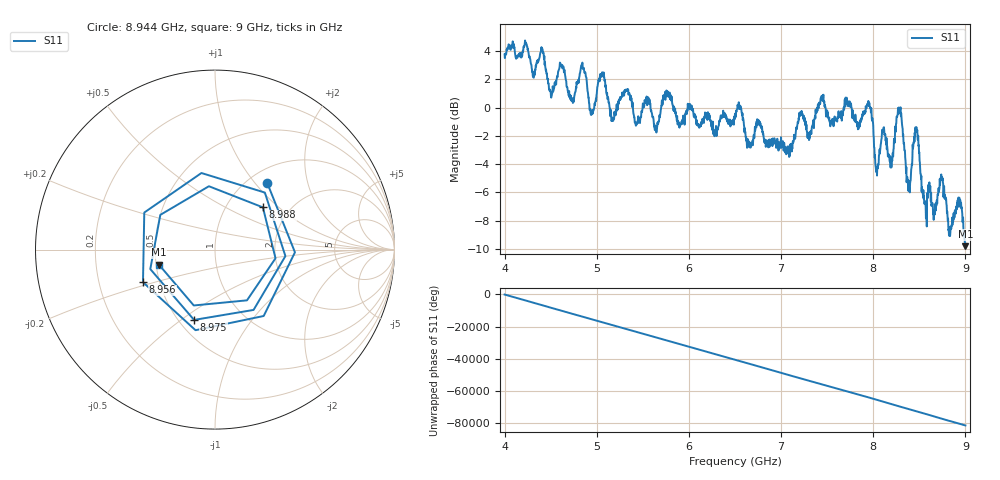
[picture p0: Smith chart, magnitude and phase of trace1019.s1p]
! Created with skrf 1.8.0 (http://scikit-rf.org).
# Hz S RI R 50.0
!freq ReS11 ImS11
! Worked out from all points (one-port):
!   1601 points, 4 GHz to 9 GHz, reference 50 ohm
!   lowest |S11| = -9.8 dB at 9 GHz (marker M1), VSWR 1.96, Z = 25.9 - j4.85 ohm
!   |S11| at or under -10 dB: nowhere
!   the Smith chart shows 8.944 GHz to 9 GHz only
!   S11 on the Smith chart (normalised r, x): 8.944 GHz: 1.21, +1.16; 8.956 GHz: 0.40, -0.18; 8.975 GHz: 0.59, -0.56; 8.988 GHz: 1.47, +0.79; 9 GHz: 0.52, -0.10
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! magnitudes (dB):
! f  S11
! 4 GHz  3.8
! 4.406 GHz  4.2
! 4.506 GHz  0.7
! 4.625 GHz  3.0
! 4.728 GHz  0.7
! 4.853 GHz  2.8
! 4.947 GHz  -0.5
! 5.053 GHz  2.3
! 5.162 GHz  -0.9
! 5.25 GHz  0.6
! 5.875 GHz  -1.0
! 6.5 GHz  -0.4
! 7.125 GHz  -2.6
! 7.434 GHz  0.6
! 7.75 GHz  0.2
! 7.956 GHz  0.4
! 8.041 GHz  -4.8
! 8.112 GHz  -1.4
! 8.197 GHz  -4.2
! 8.288 GHz  -0.2
! 8.375 GHz  -5.1
! 8.462 GHz  -1.6
! 8.556 GHz  -6.8
! 8.944 GHz  -6.5
! 8.956 GHz  -7.1
! 8.975 GHz  -7.8
! 8.988 GHz  -9.0
! 9 GHz  -9.8
